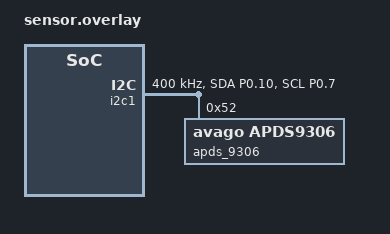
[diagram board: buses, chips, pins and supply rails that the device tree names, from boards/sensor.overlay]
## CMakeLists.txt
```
cmake_minimum_required(VERSION 3.20.0)
find_package(Zephyr REQUIRED HINTS $ENV{ZEPHYR_BASE})

project(APDS-9306)

target_sources(app PRIVATE src/main.c)
```

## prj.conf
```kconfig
CONFIG_SENSOR=y
CONFIG_SENSOR_LOG_LEVEL_DBG=y
CONFIG_CLOCK_CONTROL=y
CONFIG_CLOCK_CONTROL_NRF_K32SRC_RC=y
CONFIG_UART_CONSOLE=n
CONFIG_LOG_BACKEND_UART=n
CONFIG_LOG_PRINTK=y
CONFIG_LOG=y
CONFIG_DEBUG_OPTIMIZATIONS=y
CONFIG_USE_SEGGER_RTT=y
CONFIG_LOG_BACKEND_RTT=y
CONFIG_LOG_BACKEND_RTT_MODE_BLOCK=y
CONFIG_LOG_BUFFER_SIZE=4096
CONFIG_LOG_BACKEND_RTT_OUTPUT_BUFFER_SIZE=128
CONFIG_LOG_BLOCK_IN_THREAD=y
```

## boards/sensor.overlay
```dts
/ {
	aliases {
		sensor = &apds_9306;
	};
};

&pinctrl {
	i2c1_default: i2c1_default {
		group1 {
			psels = <NRF_PSEL(TWIM_SDA, 0, 10)>,
				<NRF_PSEL(TWIM_SCL, 0, 7)>;
		};
	};

	i2c1_sleep: i2c1_sleep {
		group1 {
			psels = <NRF_PSEL(TWIM_SDA, 0, 10)>,
				<NRF_PSEL(TWIM_SCL, 0, 7)>;
			low-power-enable;
		};
	};
};

&i2c1 {
    compatible = "nordic,nrf-twim";
    status = "okay";
    clock-frequency = <I2C_BITRATE_FAST>;
    zephyr,concat-buf-size = <512>;

    pinctrl-0 = <&i2c1_default>;
    pinctrl-1 = <&i2c1_sleep>;
    pinctrl-names = "default", "sleep";

    apds_9306: apds9306@52 {
        compatible = "avago,apds9306";
        reg = <0x52>;
        status = "okay";
        gain = <18>;
        resolution = <13>;
        frequency = <2000>;
    };
};
```

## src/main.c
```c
#include <zephyr/kernel.h>
#include <zephyr/drivers/sensor.h>
#include <zephyr/logging/log.h>

const struct device *const sensor = DEVICE_DT_GET(DT_NODELABEL(apds_9306));

LOG_MODULE_REGISTER(main, LOG_LEVEL_INF);

int main(void)
{
    struct sensor_value gain;
    struct sensor_value resolution;
    struct sensor_value frequency;

    if (!device_is_ready(sensor)) {
        LOG_ERR("Device not ready!");
        return -1;
    }

    LOG_INF("Device ready!");

    // 20 Bit, gain = 6, 50 ms
    /*
    gain.val1 = 2;
    resolution.val1 = 0;
    frequency.val1 = 1;
    sensor_attr_set(sensor, SENSOR_CHAN_LIGHT, (SENSOR_ATTR_PRIV_START + 1), &gain);
    sensor_attr_set(sensor, SENSOR_CHAN_LIGHT, (SENSOR_ATTR_PRIV_START + 2), &resolution);
    sensor_attr_set(sensor, SENSOR_CHAN_LIGHT, SENSOR_ATTR_SAMPLING_FREQUENCY, &frequency);
    */
    sensor_attr_get(sensor, SENSOR_CHAN_LIGHT, (SENSOR_ATTR_PRIV_START + 1), &gain);
    sensor_attr_get(sensor, SENSOR_CHAN_LIGHT, (SENSOR_ATTR_PRIV_START + 2), &resolution);
    sensor_attr_get(sensor, SENSOR_CHAN_LIGHT, SENSOR_ATTR_SAMPLING_FREQUENCY, &frequency);
    LOG_INF("Gain: %u", gain.val1);
    LOG_INF("Resolution: %u", resolution.val1);
	LOG_INF("Measurement rate: %u", frequency.val1);

    while(1) {
        /*
        struct sensor_value result;

        if (sensor_sample_fetch(sensor) != 0) {
            LOG_ERR("Can not fetch sensor value!");
            return - 1;
        }

        if (sensor_channel_get(sensor, SENSOR_CHAN_LIGHT, &result) != 0) {
            LOG_ERR("Can not read sensor value!");
            return -1;
        }

        LOG_INF("Value 1: %i", result.val1);
        LOG_INF("Value 2: %i", result.val2);
*/
        k_msleep(1000);
    }

    return 0;
}
```
